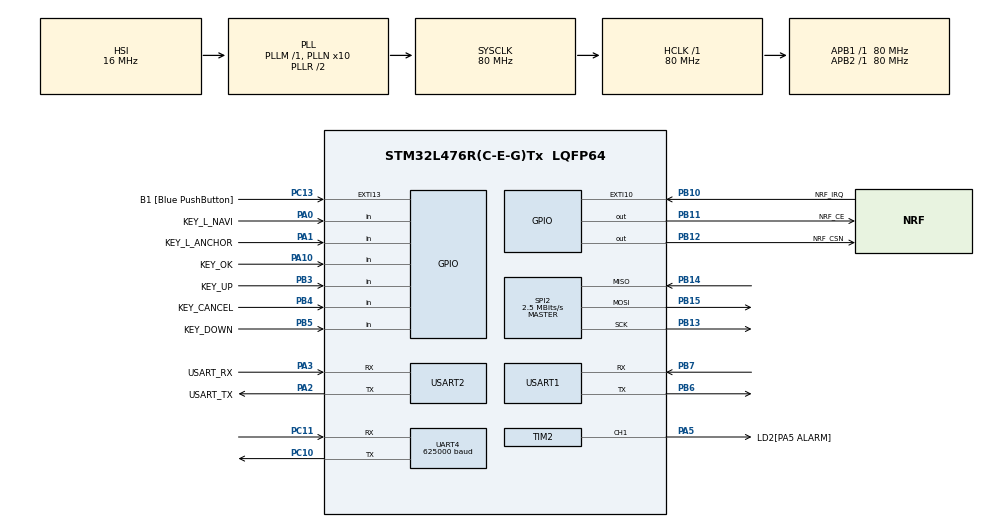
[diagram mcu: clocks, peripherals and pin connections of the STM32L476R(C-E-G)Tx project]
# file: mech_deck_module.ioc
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IWDG.Prescaler=IWDG_PRESCALER_64
Mcu.Family=STM32L4
Mcu.Name=STM32L476R(C-E-G)Tx
Mcu.Package=LQFP64
NVIC.PriorityGroup=NVIC_PRIORITYGROUP_4
PA0.GPIO_Label=KEY_L_NAVI
PA0.GPIO_Mode=GPIO_MODE_INPUT
PA0.GPIO_PuPd=GPIO_PULLUP
PA0.Signal=GPIO_Input
PA1.GPIO_Label=KEY_L_ANCHOR
PA1.GPIO_Mode=GPIO_MODE_INPUT
PA1.GPIO_PuPd=GPIO_PULLUP
PA1.Signal=GPIO_Input
PA10.GPIO_Label=KEY_OK
PA10.GPIO_PuPd=GPIO_PULLUP
PA10.Signal=GPIO_Input
PA13\ (JTMS-SWDIO).GPIO_Label=TMS
PA13\ (JTMS-SWDIO).Mode=Serial_Wire
PA13\ (JTMS-SWDIO).Signal=SYS_JTMS-SWDIO
PA14\ (JTCK-SWCLK).GPIO_Label=TCK
PA14\ (JTCK-SWCLK).Mode=Serial_Wire
PA14\ (JTCK-SWCLK).Signal=SYS_JTCK-SWCLK
PA2.GPIO_Label=USART_TX
PA2.GPIO_Mode=GPIO_MODE_AF_PP
PA2.GPIO_PuPd=GPIO_NOPULL
PA2.GPIO_Speed=GPIO_SPEED_FREQ_VERY_HIGH
PA2.Mode=Asynchronous
PA2.Signal=USART2_TX
PA3.GPIO_Label=USART_RX
PA3.GPIO_Mode=GPIO_MODE_AF_PP
PA3.GPIO_PuPd=GPIO_NOPULL
PA3.GPIO_Speed=GPIO_SPEED_FREQ_VERY_HIGH
PA3.Mode=Asynchronous
PA3.Signal=USART2_RX
PA5.GPIO_Label=LD2[PA5 ALARM]
PA5.GPIO_Speed=GPIO_SPEED_FREQ_VERY_HIGH
PA5.Signal=S_TIM2_CH1
PB10.GPIO_Label=NRF_IRQ
PB10.Signal=GPXTI10
PB11.GPIO_Label=NRF_CE
PB11.GPIO_Speed=GPIO_SPEED_FREQ_VERY_HIGH
PB11.Signal=GPIO_Output
PB12.GPIO_Label=NRF_CSN
PB12.GPIO_Speed=GPIO_SPEED_FREQ_VERY_HIGH
PB12.Signal=GPIO_Output
PB13.Mode=Full_Duplex_Master
PB13.Signal=SPI2_SCK
PB14.Mode=Full_Duplex_Master
PB14.Signal=SPI2_MISO
PB15.Mode=Full_Duplex_Master
PB15.Signal=SPI2_MOSI
PB3\ (JTDO-TRACESWO).GPIO_Label=KEY_UP
PB3\ (JTDO-TRACESWO).GPIO_Mode=GPIO_MODE_INPUT
PB3\ (JTDO-TRACESWO).GPIO_PuPd=GPIO_PULLUP
PB3\ (JTDO-TRACESWO).Signal=GPIO_Input
PB4\ (NJTRST).GPIO_Label=KEY_CANCEL
PB4\ (NJTRST).GPIO_Mode=GPIO_MODE_INPUT
PB4\ (NJTRST).GPIO_PuPd=GPIO_PULLUP
PB4\ (NJTRST).Signal=GPIO_Input
PB5.GPIO_Label=KEY_DOWN
PB5.GPIO_Mode=GPIO_MODE_INPUT
PB5.GPIO_PuPd=GPIO_PULLUP
PB5.Signal=GPIO_Input
PB6.Mode=Asynchronous
PB6.Signal=USART1_TX
PB7.Mode=Asynchronous
PB7.Signal=USART1_RX
PC10.Mode=Asynchronous
PC10.Signal=UART4_TX
PC11.Mode=Asynchronous
PC11.Signal=UART4_RX
PC13.GPIO_Label=B1 [Blue PushButton]
PC13.GPIO_ModeDefaultEXTI=GPIO_MODE_IT_FALLING
PC13.GPIO_PuPd=GPIO_NOPULL
PC13.Signal=GPXTI13
ProjectManager.HeapSize=0x1200
ProjectManager.StackSize=0x1400
ProjectManager.TargetToolchain=STM32CubeIDE
RCC.ADCFreq_Value=64000000
RCC.AHBFreq_Value=80000000
RCC.APB1Freq_Value=80000000
RCC.APB1TimFreq_Value=80000000
RCC.APB2Freq_Value=80000000
RCC.APB2TimFreq_Value=80000000
RCC.CortexFreq_Value=80000000
RCC.HCLKFreq_Value=80000000
RCC.HSE_VALUE=8000000
RCC.HSI_VALUE=16000000
RCC.LSE_VALUE=32768
RCC.MSI_VALUE=4000000
RCC.PLLN=10
RCC.PLLSourceVirtual=RCC_PLLSOURCE_HSI
RCC.PREFETCH_ENABLE=1
RCC.SYSCLKFreq_VALUE=80000000
RCC.SYSCLKSource=RCC_SYSCLKSOURCE_PLLCLK
RCC.USBFreq_Value=64000000
RCC.VCOOutputFreq_Value=160000000
SH.S_TIM2_CH1.0=TIM2_CH1,PWM Generation1 CH1
SPI2.BaudRatePrescaler=SPI_BAUDRATEPRESCALER_32
SPI2.CalculateBaudRate=2.5 MBits/s
SPI2.DataSize=SPI_DATASIZE_8BIT
SPI2.Direction=SPI_DIRECTION_2LINES
SPI2.Mode=SPI_MODE_MASTER
SPI2.VirtualType=VM_MASTER
TIM2.Channel-PWM\ Generation1\ CH1=TIM_CHANNEL_1
TIM2.Period=1999
TIM2.Prescaler=9999
TIM2.Pulse-PWM\ Generation1\ CH1=999
UART4.BaudRate=625000
UART4.Mode=MODE_TX
USART1.VirtualMode-Asynchronous=VM_ASYNC
USART2.VirtualMode-Asynchronous=VM_ASYNC
VP_IWDG_VS_IWDG.Mode=IWDG_Activate
VP_TIM2_VS_ClockSourceINT.Mode=Internal
board=NUCLEO-L476RG

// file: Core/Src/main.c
/* USER CODE BEGIN Header */
/**
  ******************************************************************************
  * @file           : main.c
  * @brief          : Main program body
  ******************************************************************************
  * @attention
  *
  * <h2><center>&copy; Copyright (c) 2021 STMicroelectronics.
  * All rights reserved.</center></h2>
  *
  * This software component is licensed by ST under BSD 3-Clause license,
  * the "License"; You may not use this file except in compliance with the
  * License. You may obtain a copy of the License at:
  *                        opensource.org/licenses/BSD-3-Clause
  *
  ******************************************************************************
  */
/* USER CODE END Header */
#include "main.h"
#include "iwdg.h"
#include "spi.h"
#include "tim.h"
#include "usart.h"
#include "gpio.h"

/* USER CODE BEGIN Includes */
#include <string.h>

/* USER CODE END Includes */

void SystemClock_Config(void);

/* USER CODE BEGIN 0 */
volatile uint_fast64_t _sysTicks = 1;

int __unused _write(int __unused file, char *data, int len) {
    for (; len > 0; len--, data++) {
        while (!LL_USART_IsActiveFlag_TXE(USART2)) {}
        LL_USART_TransmitData8(USART2, *data);
    }
    return len;
}

struct NaviState state = {
    .anemState = CONN_TIMEOUT,
    .gpsState = CONN_TIMEOUT,
    .windAngle = -1};

static inline bool checkTime(uint64_t started) {
    if (sysTicks() - started < 4) {
        if (state.anemState == CONN_FAIL) {
            state.anemState = DATA_NO_FIX;
        }
        return true;
    } else {
        state.anemState = CONN_FAIL;
        return false;
    }
}
uint8_t nRF24_LL_RW(uint8_t data) {
    LL_SPI_SetRxFIFOThreshold(NRF_SPI, LL_SPI_RX_FIFO_TH_QUARTER);
    LL_SPI_Enable(NRF_SPI);
    // Wait until TX buffer is empty
    uint_fast64_t time = sysTicks();
    while (LL_SPI_IsActiveFlag_BSY(NRF_SPI) && checkTime(time));
    while (!LL_SPI_IsActiveFlag_TXE(NRF_SPI) && checkTime(time));
    LL_SPI_TransmitData8(NRF_SPI, data);
    while (!LL_SPI_IsActiveFlag_RXNE(NRF_SPI) && checkTime(time));
    return LL_SPI_ReceiveData8(NRF_SPI);
}

/* USER CODE END 0 */

int main(void)
{
  /* USER CODE BEGIN 1 */
    LL_DBGMCU_APB1_GRP1_FreezePeriph(LL_DBGMCU_APB1_GRP1_IWDG_STOP);

  /* USER CODE END 1 */

  /* MCU Configuration--------------------------------------------------------*/

  /* Reset of all peripherals, Initializes the Flash interface and the Systick. */
  HAL_Init();

  /* Configure the system clock */
  SystemClock_Config();

  /* Initialize all configured peripherals */
  MX_GPIO_Init();
  MX_UART4_Init();
  MX_USART2_UART_Init();
  MX_SPI2_Init();
  MX_USART1_UART_Init();
  MX_IWDG_Init();
  MX_TIM2_Init();
  /* USER CODE BEGIN 2 */
    LL_USART_Enable(UART4);
  /* USER CODE END 2 */

  /* Infinite loop */
  /* USER CODE BEGIN WHILE */
    // moved to mainLoop()
    mainLoop();
    /* USER CODE END WHILE */

}

void SystemClock_Config(void)
{
  RCC_OscInitTypeDef RCC_OscInitStruct = {0};
  RCC_ClkInitTypeDef RCC_ClkInitStruct = {0};
  RCC_PeriphCLKInitTypeDef PeriphClkInit = {0};

  /** Initializes the RCC Oscillators according to the specified parameters
  * in the RCC_OscInitTypeDef structure.
  */
  RCC_OscInitStruct.OscillatorType = RCC_OSCILLATORTYPE_HSI|RCC_OSCILLATORTYPE_LSI;
  RCC_OscInitStruct.HSIState = RCC_HSI_ON;
  RCC_OscInitStruct.HSICalibrationValue = RCC_HSICALIBRATION_DEFAULT;
  RCC_OscInitStruct.LSIState = RCC_LSI_ON;
  RCC_OscInitStruct.PLL.PLLState = RCC_PLL_ON;
  RCC_OscInitStruct.PLL.PLLSource = RCC_PLLSOURCE_HSI;
  RCC_OscInitStruct.PLL.PLLM = 1;
  RCC_OscInitStruct.PLL.PLLN = 10;
  RCC_OscInitStruct.PLL.PLLP = RCC_PLLP_DIV7;
  RCC_OscInitStruct.PLL.PLLQ = RCC_PLLQ_DIV2;
  RCC_OscInitStruct.PLL.PLLR = RCC_PLLR_DIV2;
  if (HAL_RCC_OscConfig(&RCC_OscInitStruct) != HAL_OK)
  {
    Error_Handler();
  }
  /** Initializes the CPU, AHB and APB buses clocks
  */
  RCC_ClkInitStruct.ClockType = RCC_CLOCKTYPE_HCLK|RCC_CLOCKTYPE_SYSCLK
                              |RCC_CLOCKTYPE_PCLK1|RCC_CLOCKTYPE_PCLK2;
  RCC_ClkInitStruct.SYSCLKSource = RCC_SYSCLKSOURCE_PLLCLK;
  RCC_ClkInitStruct.AHBCLKDivider = RCC_SYSCLK_DIV1;
  RCC_ClkInitStruct.APB1CLKDivider = RCC_HCLK_DIV1;
  RCC_ClkInitStruct.APB2CLKDivider = RCC_HCLK_DIV1;

  if (HAL_RCC_ClockConfig(&RCC_ClkInitStruct, FLASH_LATENCY_4) != HAL_OK)
  {
    Error_Handler();
  }
  PeriphClkInit.PeriphClockSelection = RCC_PERIPHCLK_USART1|RCC_PERIPHCLK_USART2
                              |RCC_PERIPHCLK_UART4;
  PeriphClkInit.Usart1ClockSelection = RCC_USART1CLKSOURCE_PCLK2;
  PeriphClkInit.Usart2ClockSelection = RCC_USART2CLKSOURCE_PCLK1;
  PeriphClkInit.Uart4ClockSelection = RCC_UART4CLKSOURCE_PCLK1;
  if (HAL_RCCEx_PeriphCLKConfig(&PeriphClkInit) != HAL_OK)
  {
    Error_Handler();
  }
  /** Configure the main internal regulator output voltage
  */
  if (HAL_PWREx_ControlVoltageScaling(PWR_REGULATOR_VOLTAGE_SCALE1) != HAL_OK)
  {
    Error_Handler();
  }
}

void Error_Handler(void)
{
  /* USER CODE BEGIN Error_Handler_Debug */
  /* User can add his own implementation to report the HAL error return state */
    LL_RCC_HSI_Enable();
    LL_RCC_SetSysClkSource(LL_RCC_SYS_CLKSOURCE_HSI);
    LL_AHB2_GRP1_EnableClock(LL_AHB2_GRP1_PERIPH_GPIOA);
    LL_GPIO_SetPinMode(LD2_GPIO_Port, LD2_Pin, LL_GPIO_MODE_OUTPUT);
    LL_Init1msTick(16000000);
  __disable_irq();
#pragma clang diagnostic push
#pragma clang diagnostic ignored "-Wmissing-noreturn"
    while (1) {
        LL_GPIO_TogglePin(LD2_GPIO_Port, LD2_Pin);
        LL_mDelay(50);
  }
#pragma clang diagnostic pop
  /* USER CODE END Error_Handler_Debug */
}

#ifdef  USE_FULL_ASSERT
/**
  * @brief  Reports the name of the source file and the source line number
  *         where the assert_param error has occurred.
  * @param  file: pointer to the source file name
  * @param  line: assert_param error line source number
  * @retval None
  */
void assert_failed(uint8_t *file, uint32_t line)
{
  /* USER CODE BEGIN 6 */
#pragma clang diagnostic push
#pragma ide diagnostic ignored "UnusedValue"
    file = file;
    line = line;
#pragma clang diagnostic pop
  /* User can add his own implementation to report the file name and line number,
     ex: printf("Wrong parameters value: file %s on line %d\r\n", file, line) */
  /* USER CODE END 6 */
}
#endif /* USE_FULL_ASSERT */

/************************ (C) COPYRIGHT STMicroelectronics *****END OF FILE****/
